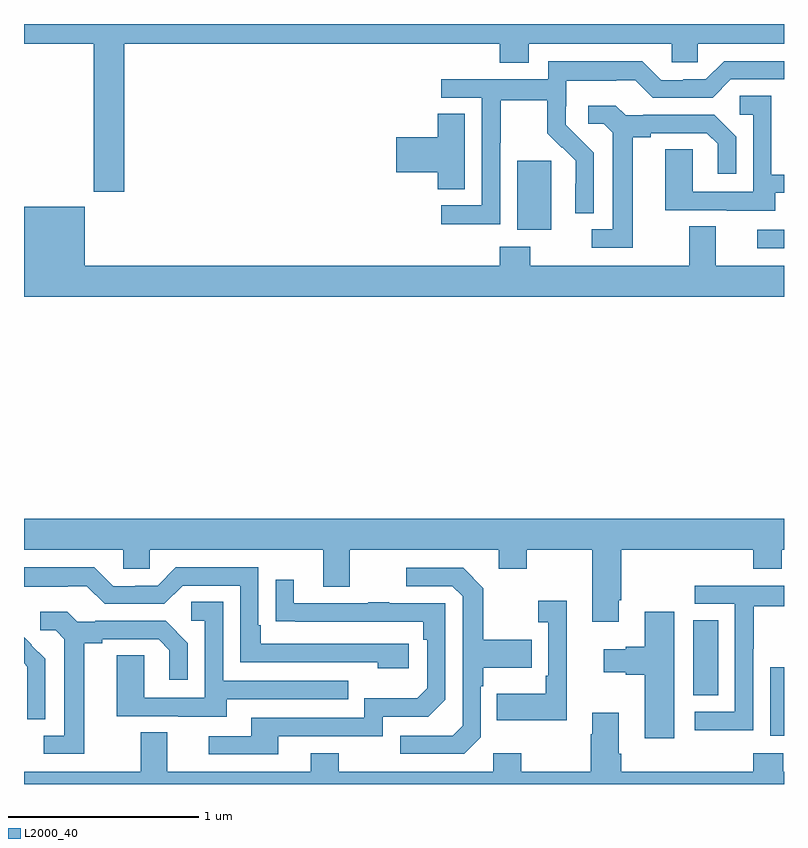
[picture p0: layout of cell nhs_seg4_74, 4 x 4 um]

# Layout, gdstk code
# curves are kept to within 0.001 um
import gdstk
lib = gdstk.Library(unit=1e-6, precision=1e-09)
def R(c, l, rs):  # rectangles x0, y0, x1, y1
    for r in rs: c.add(gdstk.rectangle(r[:2], r[2:], *l))
def P(c, l, *ps):  # polygons
    for p in ps: c.add(gdstk.Polygon(p, *l))
L2000_40 = (2000, 40)

nhs_seg4_74 = lib.new_cell('nhs_seg4_74')
R(nhs_seg4_74, L2000_40, [(116.927,817.154,117,817.515), (116.522,817.366,116.653,817.763), (116.859,819.72,117,819.816), (115.595,819.818,115.774,820.179)])
P(nhs_seg4_74, L2000_40, [(113.528,820.796),(115.505,820.796),(115.505,820.697),(115.657,820.697),(115.657,820.796),(116.409,820.796),(116.409,820.698),(116.547,820.698),(116.547,820.796),(117,820.796),(117,820.9),(113,820.9),(113,820.796),(113.368,820.796),(113.368,820.017),(113.528,820.017)],
  [(115.506,820.276),(115.509,820.276),(115.509,820.5),(115.753,820.5),(115.753,820.325),(115.83,820.248),(115.833,820.251),(115.904,820.181),(115.904,820.058),(115.902,820.058),(115.902,819.904),(115.998,819.904),(115.998,820.222),(115.852,820.37),(115.852,820.467),(115.854,820.467),(115.854,820.601),(116.117,820.601),(116.117,820.605),(116.217,820.605),(116.31,820.512),(116.625,820.512),(116.721,820.608),(117,820.608),(117,820.704),(116.685,820.704),(116.589,820.608),(116.471,820.608),(116.471,820.605),(116.355,820.605),(116.255,820.705),(115.758,820.705),(115.758,820.608),(115.197,820.608),(115.197,820.512),(115.41,820.512),(115.41,819.945),(115.197,819.945),(115.197,819.847),(115.506,819.847)],
  [(116.953,820.011),(117,820.011),(117,820.107),(116.934,820.107),(116.934,820.523),(116.766,820.523),(116.766,820.422),(116.838,820.422),(116.838,820.017),(116.52,820.017),(116.52,820.241),(116.375,820.241),(116.375,819.921),(116.699,819.921),(116.699,819.917),(116.953,819.917)],
  [(116.203,820.304),(116.299,820.304),(116.299,820.326),(116.594,820.326),(116.651,820.269),(116.651,820.113),(116.748,820.113),(116.748,820.306),(116.632,820.422),(116.26,820.422),(116.26,820.419),(116.166,820.419),(116.114,820.471),(115.971,820.471),(115.971,820.374),(116.052,820.374),(116.099,820.327),(116.099,819.819),(115.989,819.819),(115.989,819.723),(116.203,819.723)],
  [(115.321,820.427),(115.178,820.427),(115.178,820.304),(114.96,820.304),(114.96,820.121),(115.178,820.121),(115.178,820.03),(115.321,820.03)],
  [(117,819.628),(116.641,819.628),(116.641,819.836),(116.501,819.836),(116.501,819.628),(115.665,819.628),(115.665,819.727),(115.505,819.727),(115.505,819.628),(113.32,819.628),(113.32,819.937),(113,819.937),(113,819.464),(117,819.464)],
  [(116.131,817.867),(116.144,817.867),(116.144,818.132),(116.837,818.132),(116.837,818.033),(116.989,818.033),(116.989,818.132),(117,818.132),(117,818.296),(113,818.296),(113,818.132),(113.523,818.132),(113.523,818.034),(113.661,818.034),(113.661,818.132),(114.575,818.132),(114.575,817.938),(114.715,817.938),(114.715,818.132),(115.499,818.132),(115.499,818.033),(115.647,818.033),(115.647,818.132),(115.991,818.132),(115.991,817.755),(116.131,817.755)],
  [(115.024,817.638),(114.247,817.638),(114.247,817.735),(114.234,817.735),(114.234,818.04),(113.799,818.04),(113.703,817.944),(113.585,817.944),(113.585,817.941),(113.469,817.941),(113.369,818.041),(113,818.041),(113,817.937),(113.231,817.937),(113.231,817.941),(113.331,817.941),(113.424,817.848),(113.739,817.848),(113.835,817.944),(114.138,817.944),(114.138,817.542),(114.863,817.542),(114.863,817.508),(115.024,817.508)],
  [(115.404,817.146),(115.404,817.415),(115.417,817.415),(115.417,817.511),(115.673,817.511),(115.673,817.659),(115.417,817.659),(115.417,817.931),(115.311,818.037),(115.011,818.037),(115.011,817.941),(115.254,817.941),(115.308,817.887),(115.308,817.206),(115.257,817.155),(114.981,817.155),(114.981,817.059),(115.317,817.059)],
  [(114.337,817.152),(114.888,817.152),(114.888,817.254),(115.128,817.254),(115.218,817.344),(115.218,817.851),(114.923,817.851),(114.923,817.856),(114.811,817.856),(114.811,817.851),(114.421,817.851),(114.421,817.975),(114.325,817.975),(114.325,817.756),(115.102,817.755),(115.102,817.658),(115.122,817.658),(115.122,817.404),(115.069,817.351),(114.792,817.351),(114.792,817.248),(114.197,817.248),(114.197,817.152),(113.973,817.152),(113.973,817.056),(114.337,817.056)],
  [(116.838,817.612),(116.841,817.612),(116.841,817.836),(117,817.836),(117,817.944),(116.529,817.944),(116.529,817.848),(116.742,817.848),(116.742,817.281),(116.529,817.281),(116.529,817.183),(116.838,817.183)],
  [(115.856,817.864),(115.707,817.864),(115.707,817.751),(115.758,817.751),(115.758,817.471),(115.746,817.471),(115.746,817.375),(115.489,817.375),(115.489,817.235),(115.856,817.235)],
  [(114.067,817.347),(114.707,817.347),(114.707,817.443),(114.048,817.443),(114.048,817.859),(113.88,817.859),(113.88,817.758),(113.952,817.758),(113.952,817.353),(113.634,817.353),(113.634,817.577),(113.489,817.577),(113.489,817.257),(113.813,817.257),(113.813,817.253),(114.067,817.253)],
  [(116.422,817.807),(116.267,817.807),(116.267,817.622),(116.168,817.622),(116.168,817.609),(116.052,817.609),(116.052,817.487),(116.168,817.487),(116.168,817.475),(116.267,817.475),(116.267,817.14),(116.422,817.14)],
  [(113.317,817.64),(113.413,817.64),(113.413,817.662),(113.708,817.662),(113.765,817.605),(113.765,817.449),(113.862,817.449),(113.862,817.642),(113.746,817.758),(113.374,817.758),(113.374,817.755),(113.28,817.755),(113.228,817.807),(113.085,817.807),(113.085,817.71),(113.166,817.71),(113.213,817.663),(113.213,817.155),(113.103,817.155),(113.103,817.059),(113.317,817.059)],
  [(113.112,817.558),(113.039,817.631),(113.04,817.632),(113,817.672),(113,817.535),(113.018,817.517),(113.018,817.394),(113.016,817.394),(113.016,817.24),(113.112,817.24)],
  [(117,816.964),(116.997,816.964),(116.997,817.063),(116.837,817.063),(116.837,816.964),(116.144,816.964),(116.144,817.06),(116.131,817.06),(116.131,817.276),(115.991,817.276),(115.991,817.163),(115.984,817.163),(115.984,816.964),(115.617,816.964),(115.617,817.063),(115.47,817.063),(115.47,816.964),(114.657,816.964),(114.657,817.063),(114.509,817.063),(114.509,816.964),(113.755,816.964),(113.755,817.172),(113.615,817.172),(113.615,816.964),(113,816.964),(113,816.9),(117,816.9)])

lib.write_gds('nhs_seg4_74.gds')
